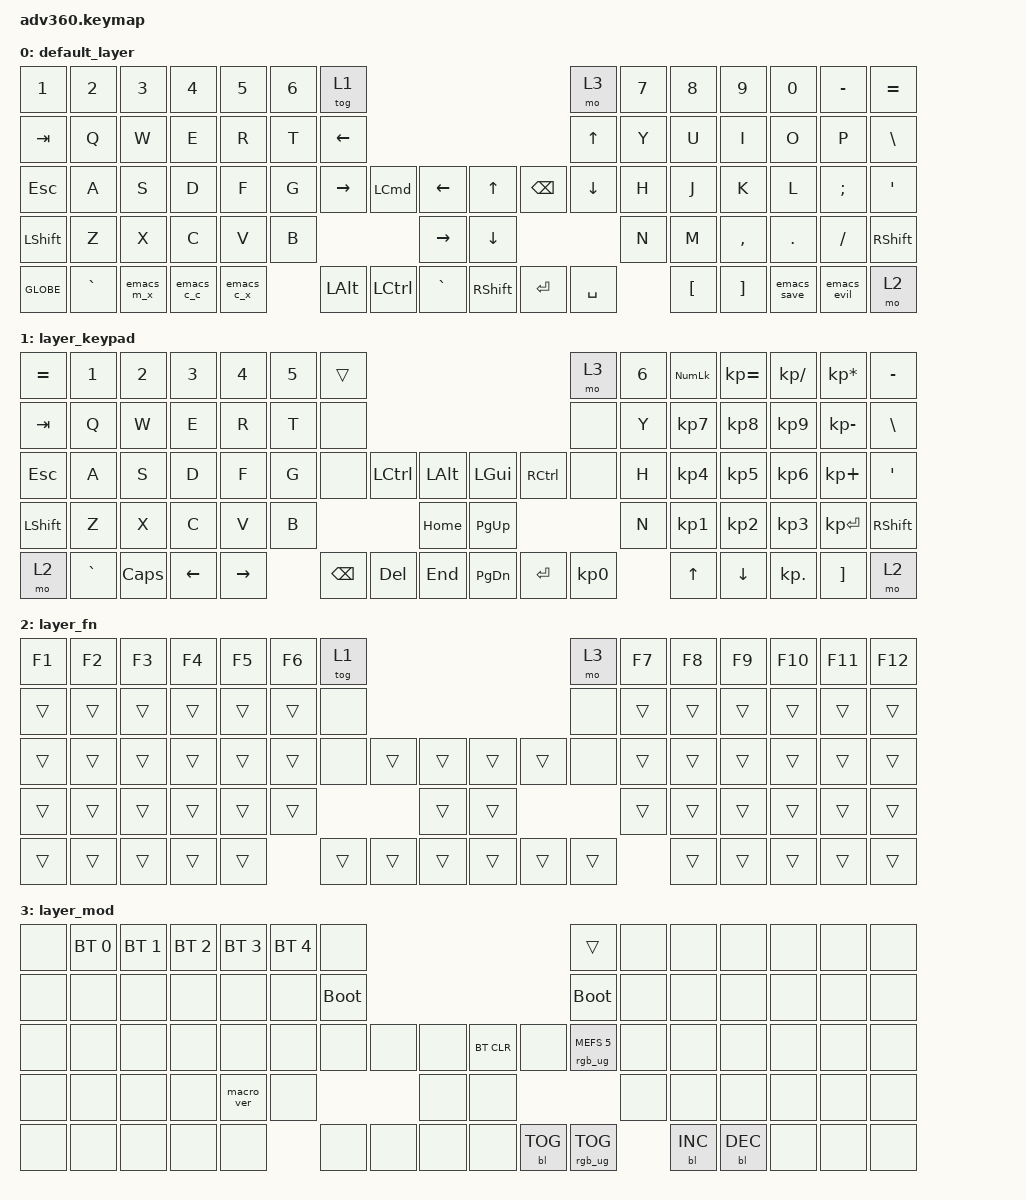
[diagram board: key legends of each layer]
/*
 * Copyright (c) 2020 The ZMK Contributors
 *
 * SPDX-License-Identifier: MIT
 */
/* THIS FILE WAS GENERATED!
 *
 * This file was generated automatically. You may or may not want to
 * edit it directly.
 */

#include <behaviors.dtsi>
#include <dt-bindings/zmk/backlight.h>
#include <dt-bindings/zmk/bt.h>
#include <dt-bindings/zmk/keys.h>
#include <dt-bindings/zmk/rgb.h>

/ {
    behaviors {
        #include "macros.dtsi"
    #include "version.dtsi"

        hm: homerow_mods {
            compatible = "zmk,behavior-hold-tap";
            label = "HOMEROW_MODS";
            #binding-cells = <2>;
            tapping-term-ms = <200>;
            quick_tap_ms = <175>;
            flavor = "tap-preferred";
            bindings = <&kp>, <&kp>;
        };
    };

    macros {
        emacs_save: emacs_save {
            compatible = "zmk,behavior-macro";
            #binding-cells = <0>;
            bindings = <&kp LC(X) &kp LC(S)>;
            label = "EMACS_SAVE";
        };

        emacs_c_x: emacs_c_x {
            compatible = "zmk,behavior-macro";
            #binding-cells = <0>;
            bindings = <&kp LC(X)>;
            label = "EMACS_C_X";
        };

        emacs_m_x: emacs_m_x {
            compatible = "zmk,behavior-macro";
            #binding-cells = <0>;
            bindings = <&kp LA(X)>;
            label = "EMACS_M_X";
        };

        emacs_evil: emacs_evil {
            compatible = "zmk,behavior-macro";
            #binding-cells = <0>;
            bindings = <&kp LC(Z)>;
            label = "EMACS_EVIL";
        };

        emacs_c_c: emacs_c_c {
            compatible = "zmk,behavior-macro";
            #binding-cells = <0>;
            bindings = <&kp LC(C)>;
            label = "EMACS_C_C";
        };
    };

    keymap {
        compatible = "zmk,keymap";

        default_layer {
            bindings = <
&kp N1          &kp N2     &kp N3      &kp N4      &kp N5      &kp N6  &tog 1                                                               &mo 3      &kp N7  &kp N8    &kp N9     &kp N0       &kp MINUS    &kp EQUAL
&kp TAB         &kp Q      &kp W       &kp E       &kp R       &kp T   &kp LEFT                                                             &kp UP     &kp Y   &kp U     &kp I      &kp O        &kp P        &kp BSLH
&kp ESC         &kp A      &kp S       &kp D       &kp F       &kp G   &kp RIGHT  &kp LCMD   &kp LEFT       &kp UP           &kp BACKSPACE  &kp DOWN   &kp H   &kp J     &kp K      &kp L        &kp SEMI     &kp SQT
&kp LEFT_SHIFT  &kp Z      &kp X       &kp C       &kp V       &kp B                         &kp RIGHT      &kp DOWN                                   &kp N   &kp M     &kp COMMA  &kp DOT      &kp FSLH     &kp RSHFT
&kp GLOBE       &kp GRAVE  &emacs_m_x  &emacs_c_c  &emacs_c_x          &kp LALT   &kp LCTRL  &kp GRAVE      &kp RIGHT_SHIFT  &kp ENTER      &kp SPACE          &kp LBKT  &kp RBKT   &emacs_save  &emacs_evil  &mo 2
            >;
        };

        layer_keypad {
            bindings = <
&kp EQUAL  &kp N1     &kp N2    &kp N3    &kp N4     &kp N5  &trans                                                   &mo 3      &kp N6  &kp KP_NUM  &kp KP_EQUAL  &kp KP_DIVIDE  &kp KP_MULTIPLY  &kp MINUS
&kp TAB    &kp Q      &kp W     &kp E     &kp R      &kp T   &none                                                    &none      &kp Y   &kp KP_N7   &kp KP_N8     &kp KP_N9      &kp KP_MINUS     &kp BSLH
&kp ESC    &kp A      &kp S     &kp D     &kp F      &kp G   &none     &kp LCTRL  &kp LALT      &kp LGUI   &kp RCTRL  &none      &kp H   &kp KP_N4   &kp KP_N5     &kp KP_N6      &kp KP_PLUS      &kp SQT
&kp LSHFT  &kp Z      &kp X     &kp C     &kp V      &kp B                        &kp HOME      &kp PG_UP                        &kp N   &kp KP_N1   &kp KP_N2     &kp KP_N3      &kp KP_ENTER     &kp RSHFT
&mo 2      &kp GRAVE  &kp CAPS  &kp LEFT  &kp RIGHT          &kp BSPC  &kp DEL    &kp END       &kp PG_DN  &kp ENTER  &kp KP_N0          &kp UP      &kp DOWN      &kp KP_DOT     &kp RBKT         &mo 2
            >;
        };

        layer_fn {
            bindings = <
&kp F1  &kp F2  &kp F3  &kp F4  &kp F5  &kp F6  &tog 1                                      &mo 3   &kp F7  &kp F8  &kp F9  &kp F10  &kp F11  &kp F12
&trans  &trans  &trans  &trans  &trans  &trans  &none                                       &none   &trans  &trans  &trans  &trans   &trans   &trans
&trans  &trans  &trans  &trans  &trans  &trans  &none   &trans  &trans      &trans  &trans  &none   &trans  &trans  &trans  &trans   &trans   &trans
&trans  &trans  &trans  &trans  &trans  &trans                  &trans      &trans                  &trans  &trans  &trans  &trans   &trans   &trans
&trans  &trans  &trans  &trans  &trans          &trans  &trans  &trans      &trans  &trans  &trans          &trans  &trans  &trans   &trans   &trans
            >;
        };

        layer_mod {
            bindings = <
&none  &bt BT_SEL 0  &bt BT_SEL 1  &bt BT_SEL 2  &bt BT_SEL 3  &bt BT_SEL 4  &none                                                  &trans                  &none  &none       &none       &none  &none  &none
&none  &none         &none         &none         &none         &none         &bootloader                                            &bootloader             &none  &none       &none       &none  &none  &none
&none  &none         &none         &none         &none         &none         &none        &none  &none      &bt BT_CLR  &none       &rgb_ug RGB_MEFS_CMD 5  &none  &none       &none       &none  &none  &none
&none  &none         &none         &none         &macro_ver    &none                             &none      &none                                           &none  &none       &none       &none  &none  &none
&none  &none         &none         &none         &none                       &none        &none  &none      &none       &bl BL_TOG  &rgb_ug RGB_TOG                &bl BL_INC  &bl BL_DEC  &none  &none  &none
            >;
        };
    };
};
